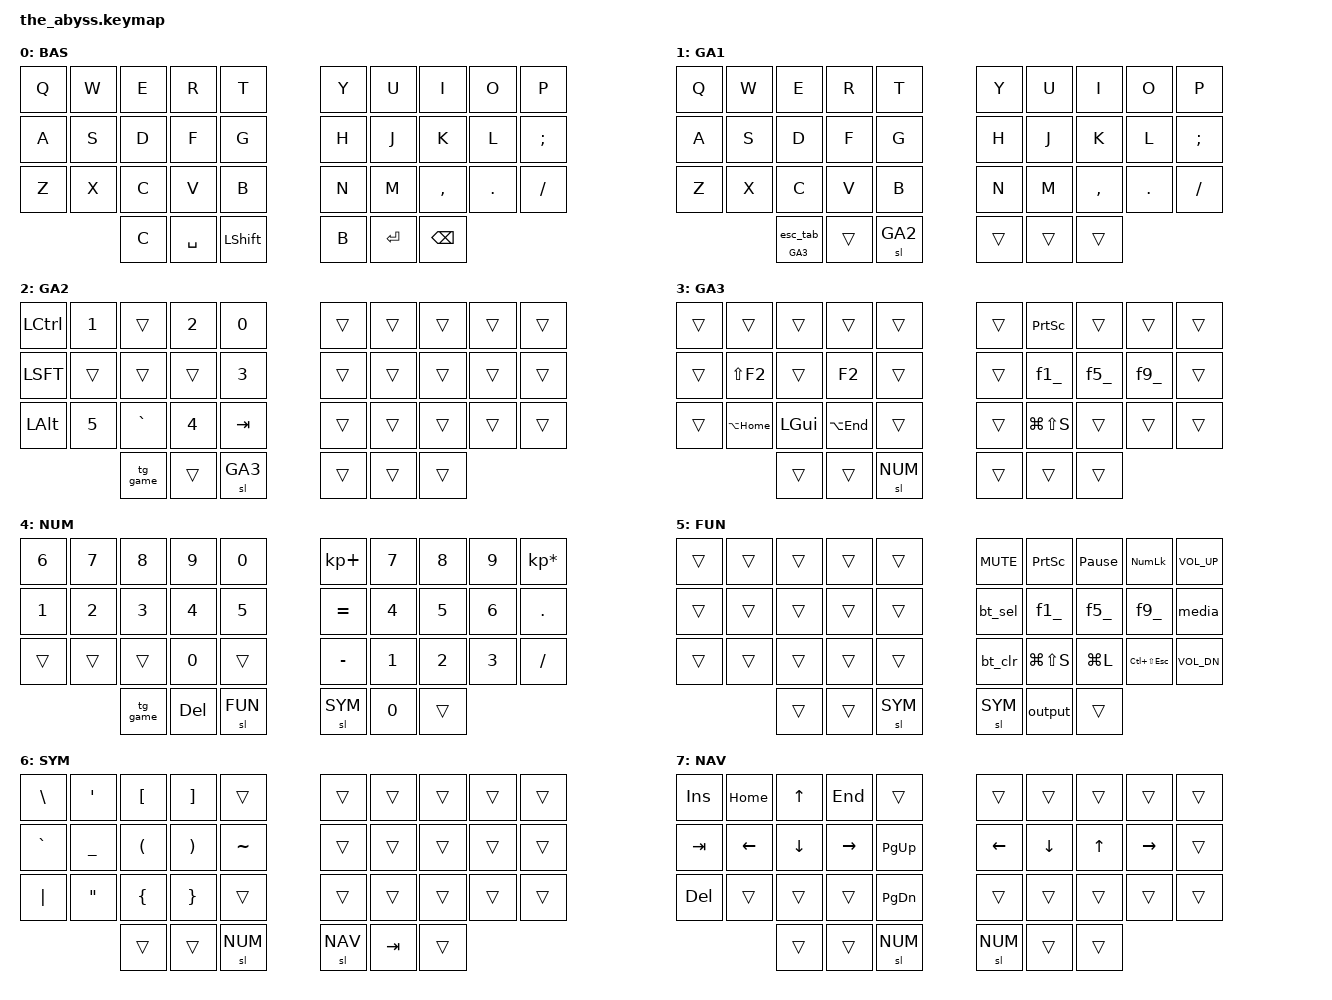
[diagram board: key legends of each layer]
// vim: set ft=dts:

#include <behaviors.dtsi>
#include <dt-bindings/zmk/bt.h>
#include <dt-bindings/zmk/keys.h>
#include <dt-bindings/zmk/outputs.h>

#define BAS 0
#define GA1 1
#define GA2 2
#define GA3 3
#define NUM 4
#define FUN 5
#define SYM 6
#define NAV 7
#define SCNSHT  LG(LS(S))
#define TSK_MGR LC(LS(ESC))

/ {
    macros {
    };

    behaviors {
    };

    keymap {
        compatible = "zmk,keymap";

        base_layer {
            label = "BAS";
            bindings = <
&kp Q  &kp W  &kp E  &kp R      &kp T           &kp Y  &kp U      &kp I          &kp O    &kp P
&kp A  &kp S  &kp D  &kp F      &kp G           &kp H  &kp J      &kp K          &kp L    &kp SEMI
&kp Z  &kp X  &kp C  &kp V      &kp B           &kp N  &kp M      &kp COMMA      &kp DOT  &kp SLASH
              &kp C  &kp SPACE  &kp LEFT_SHIFT  &kp B  &kp ENTER  &kp BACKSPACE
            >;
        };

        game1_layer {
            label = "GA1";
            bindings = <
&kp Q  &kp W  &kp E        &kp R   &kp T    &kp Y   &kp U   &kp I      &kp O    &kp P
&kp A  &kp S  &kp D        &kp F   &kp G    &kp H   &kp J   &kp K      &kp L    &kp SEMI
&kp Z  &kp X  &kp C        &kp V   &kp B    &kp N   &kp M   &kp COMMA  &kp DOT  &kp SLASH
              &et_l GA3 0  &trans  &sl GA2  &trans  &trans  &trans
            >;
        };

        game2_layer {
            label = "GA2";
            bindings = <
&kp LCTL  &kp N1  &trans     &kp N2  &kp N0   &trans  &trans  &trans  &trans  &trans
&kp LSFT  &trans  &trans     &trans  &kp N3   &trans  &trans  &trans  &trans  &trans
&kp LALT  &kp N5  &kp GRAVE  &kp N4  &kp TAB  &trans  &trans  &trans  &trans  &trans
                  &tg_game   &trans  &sl GA3  &trans  &trans  &trans
            >;
        };

        game3_layer {
            label = "GA3";
            bindings = <
&trans  &trans        &trans    &trans       &trans   &trans  &kp PSCRN   &trans  &trans  &trans
&trans  &kp LS(F2)    &trans    &kp F2       &trans   &trans  &f1_        &f5_    &f9_    &trans
&trans  &kp LA(HOME)  &kp LGUI  &kp LA(END)  &trans   &trans  &kp SCNSHT  &trans  &trans  &trans
                      &trans    &trans       &sl NUM  &trans  &trans      &trans
            >;
        };

        number_layer {
            label = "NUM";
            bindings = <
&kp N6  &kp N7  &kp N8    &kp N9   &kp N0   &kp KP_PLUS  &kp N7  &kp N8  &kp N9  &kp KP_MULTIPLY
&kp N1  &kp N2  &kp N3    &kp N4   &kp N5   &kp EQUAL    &kp N4  &kp N5  &kp N6  &kp DOT
&trans  &trans  &trans    &kp N0   &trans   &kp MINUS    &kp N1  &kp N2  &kp N3  &kp SLASH
                &tg_game  &kp DEL  &sl FUN  &sl SYM      &kp N0  &trans
            >;
        };

        function_layer {
            label = "FUN";
            bindings = <
&trans  &trans  &trans  &trans  &trans   &kp C_MUTE  &kp PSCRN   &kp PAUSE_BREAK  &kp KP_NUMLOCK  &kp C_VOL_UP
&trans  &trans  &trans  &trans  &trans   &bt_sel     &f1_        &f5_             &f9_            &media
&trans  &trans  &trans  &trans  &trans   &bt_clr     &kp SCNSHT  &kp LG(L)        &kp TSK_MGR     &kp C_VOL_DN
                &trans  &trans  &sl SYM  &sl SYM     &output     &trans
            >;
        };

        symbol_layer {
            label = "SYM";
            bindings = <
&kp BACKSLASH  &kp SQT    &kp LBKT  &kp RBKT  &trans     &trans   &trans   &trans  &trans  &trans
&kp GRAVE      &kp UNDER  &kp LPAR  &kp RPAR  &kp TILDE  &trans   &trans   &trans  &trans  &trans
&kp PIPE       &kp DQT    &kp LBRC  &kp RBRC  &trans     &trans   &trans   &trans  &trans  &trans
                          &trans    &trans    &sl NUM    &sl NAV  &kp TAB  &trans
            >;
        };

        navigation_layer {
            label = "NAV";
            bindings = <
&kp INS  &kp HOME  &kp UP    &kp END    &trans     &trans    &trans    &trans  &trans     &trans
&kp TAB  &kp LEFT  &kp DOWN  &kp RIGHT  &kp PG_UP  &kp LEFT  &kp DOWN  &kp UP  &kp RIGHT  &trans
&kp DEL  &trans    &trans    &trans     &kp PG_DN  &trans    &trans    &trans  &trans     &trans
                   &trans    &trans     &sl NUM    &sl NUM   &trans    &trans
            >;
        };
    };

    /*                KEY POSITIONS

      ╭────────────────────╮ ╭────────────────────╮
      │  0   1   2   3   4 │ │  5   6   7   8   9 │
      │ 10  11  12  13  14 │ │ 15  16  17  18  19 │
      │ 20  21  22  23  24 │ │ 25  26  27  28  29 │
      ╰───────╮ 30  31  32 │ │ 33  34  35 ╭───────╯
              ╰────────────╯ ╰────────────╯        */

    combos {
        compatible = "zmk,combos";

        #define COMBO(NAME, BINDINGS, KEYPOS, TIMEOUT, LAYERS) \
            combo_##NAME {

        timeout-ms = <TIMEOUT>;
        bindings = <BINDINGS>;
        key-positions = <KEYPOS>;
        layers = <LAYERS>;
        slow-release;
    };

    #define DEFAULT_TIME 64
        #define LONG_TIME    128

        #define ALL_LAYERS     BAS GA1 GA2 GA3 NUM FUN SYM NAV NUM NAV
        #define DEFAULT_LAYERS BAS     GA2 GA3 NUM FUN SYM NAV NUM NAV
        #define NONBASE_LAYERS         GA2 GA3 NUM FUN SYM NAV NUM NAV

        COMBO(l_bail    , &bail     , 30 31, DEFAULT_TIME, DEFAULT_LAYERS)
        COMBO(r_bail    , &bail     , 34 35, DEFAULT_TIME, DEFAULT_LAYERS)
        COMBO(tab       , &kp TAB   , 13 31, DEFAULT_TIME, DEFAULT_LAYERS)
        COMBO(del       , &kp DEL   , 16 34, DEFAULT_TIME, DEFAULT_LAYERS)
        COMBO(caps_word , &caps_word, 31 34, DEFAULT_TIME, DEFAULT_LAYERS)

        COMBO(l_sk_ctrl , &sk LCTRL , 13 23, DEFAULT_TIME, DEFAULT_LAYERS)
        COMBO(l_sk_shift, &sk LSHIFT, 12 22, DEFAULT_TIME, DEFAULT_LAYERS)
        COMBO(l_sk_alt  , &sk LALT  , 11 21, DEFAULT_TIME, DEFAULT_LAYERS)
        COMBO(l_win     , &kp LWIN  , 10 20, DEFAULT_TIME, DEFAULT_LAYERS)

        COMBO(r_sk_ctrl , &sk LCTRL , 16 26, DEFAULT_TIME, DEFAULT_LAYERS)
        COMBO(r_sk_shift, &sk RSHIFT, 17 27, DEFAULT_TIME, DEFAULT_LAYERS)
        COMBO(r_sk_alt  , &sk RALT  , 18 28, DEFAULT_TIME, DEFAULT_LAYERS)
        COMBO(r_win     , &kp LWIN  , 19 29, DEFAULT_TIME, DEFAULT_LAYERS)

        COMBO(num_bspc  , &kp BSPC  , 6  16, DEFAULT_TIME, NUM           )
        COMBO(num_comma , &kp COMMA , 7  17, DEFAULT_TIME, NUM           )
        COMBO(num_space , &kp SPACE , 8  18, DEFAULT_TIME, NUM           )
};

behaviors {
    bt_sel: tap_dance_bluetooth_select {
        compatible = "zmk,behavior-tap-dance";
        label = "BLUETOOTH_SELECT";
        #binding-cells = <0>;
        tapping-term-ms = <256>;
        bindings = <&bt BT_SEL 0>, <&bt BT_SEL 1>, <&bt BT_SEL 2>;
    };

    bt_clr: tap_dance_bluetooth_clear {
        compatible = "zmk,behavior-tap-dance";
        label = "BLUETOOTH_CLEAR";
        #binding-cells = <0>;
        tapping-term-ms = <256>;
        bindings = <&trans>, <&bt BT_CLR>;
    };

    tg_game: tg_game {
        compatible = "zmk,behavior-tap-dance";
        label = "TOGGLE_GAME";
        #binding-cells = <0>;
        tapping-term-ms = <512>;
        bindings = <&to BAS>, <&to GA1>;
    };

    n0_: tap_dance_n0_ {
        compatible = "zmk,behavior-tap-dance";
        label = "TAP_DANCE_N0_N9";
        #binding-cells = <0>;
        tapping-term-ms = <512>;
        bindings =
            <&kp N0>,
            <&kp N1>,
            <&kp N2>,
            <&kp N3>,
            <&kp N4>,
            <&kp N5>,
            <&kp N6>,
            <&kp N7>,
            <&kp N8>,
            <&kp N9>;
    };

    f1_: tap_dance_f1_ {
        compatible = "zmk,behavior-tap-dance";
        label = "TAP_DANCE_F1_F24";
        #binding-cells = <0>;
        tapping-term-ms = <512>;
        bindings =
            <&kp F1>,
            <&kp F2>,
            <&kp F3>,
            <&kp F4>,
            <&kp F5>,
            <&kp F6>,
            <&kp F7>,
            <&kp F8>,
            <&kp F9>,
            <&kp F10>,
            <&kp F11>,
            <&kp F12>,
            <&kp F13>,
            <&kp F14>,
            <&kp F15>,
            <&kp F16>,
            <&kp F17>,
            <&kp F18>,
            <&kp F19>,
            <&kp F20>,
            <&kp F22>,
            <&kp F23>,
            <&kp F24>;
    };

    f5_: tap_dance_f5_ {
        compatible = "zmk,behavior-tap-dance";
        label = "TAP_DANCE_F5_F24";
        #binding-cells = <0>;
        tapping-term-ms = <300>;
        bindings =
            <&kp F5>,
            <&kp F6>,
            <&kp F7>,
            <&kp F8>,
            <&kp F9>,
            <&kp F10>,
            <&kp F11>,
            <&kp F12>,
            <&kp F13>,
            <&kp F14>,
            <&kp F15>,
            <&kp F16>,
            <&kp F17>,
            <&kp F18>,
            <&kp F19>,
            <&kp F20>,
            <&kp F22>,
            <&kp F23>,
            <&kp F24>;
    };

    f9_: tap_dance_f9_ {
        compatible = "zmk,behavior-tap-dance";
        label = "TAP_DANCE_F9_F24";
        #binding-cells = <0>;
        tapping-term-ms = <300>;
        bindings =
            <&kp F9>,
            <&kp F10>,
            <&kp F11>,
            <&kp F12>,
            <&kp F13>,
            <&kp F14>,
            <&kp F15>,
            <&kp F16>,
            <&kp F17>,
            <&kp F18>,
            <&kp F19>,
            <&kp F20>,
            <&kp F22>,
            <&kp F23>,
            <&kp F24>;
    };

    media: tap_dance_media {
        compatible = "zmk,behavior-tap-dance";
        label = "TAP_DANCE_MEDIA";
        #binding-cells = <0>;
        tapping-term-ms = <300>;
        bindings = <&kp C_PP>, <&kp C_NEXT>, <&kp C_PREV>;
    };

    output: tap_output {
        compatible = "zmk,behavior-tap-dance";
        label = "TAP_DANCE_OUTPUT";
        #binding-cells = <0>;
        tapping-term-ms = <300>;
        bindings = <&out OUT_USB>, <&out OUT_BLE>;
    };

    esc_tab: mod_morph_esc_tab {
        compatible = "zmk,behavior-mod-morph";
        label = "ESC_TAB";
        #binding-cells = <0>;
        bindings = <&kp ESC>, <&kp TAB>;

        mods = <(MOD_LALT|MOD_RALT)>;
        keep-mods = <(MOD_LALT|MOD_RALT)>;
    };

    et_l: esc_tab_layer_x {
        compatible = "zmk,behavior-hold-tap";
        label = "ESC_TAB_LAYER";
        #binding-cells = <2>;
        flavor = "balanced";
        tapping-term-ms = <250>;
        bindings = <&mo>, <&esc_tab>;
    };
};

macros {
    // No way to cancel sticky keys so using F24 as a NOOP proxy
    // Bailing out of any sticky keyboard state macro

    bail: macro_bail {
        label = "MACRO_BAIL";
        compatible = "zmk,behavior-macro";
        #binding-cells = <0>;
        bindings = <&macro_tap>, <&kp F24 &to BAS>;
    };

    noop: macro_noop {
        label = "MACRO_NOOP";
        compatible = "zmk,behavior-macro";
        #binding-cells = <0>;
        bindings = <&macro_tap>, <&kp F24>;
    };
};

};

&sl {
    release-after-ms = <800>;
    no-sticky-after-hold-ms = <400>;
};

&sk {
    release-after-ms = <800>;
    no-sticky-after-hold-ms = <400>;
    quick-release;
};

&lt {
    flavor = "balanced";
    tapping-term-ms = <222>;
};

&caps_word { continue-list = <UNDERSCORE MINUS BSPC>; };

// Empty keymap
// &trans &trans &trans &trans &trans /* */ &trans &trans &trans &trans &trans
// &trans &trans &trans &trans &trans /* */ &trans &trans &trans &trans &trans
// &trans &trans &trans &trans &trans /* */ &trans &trans &trans &trans &trans
//               &trans &trans &trans /* */ &trans &trans &trans
